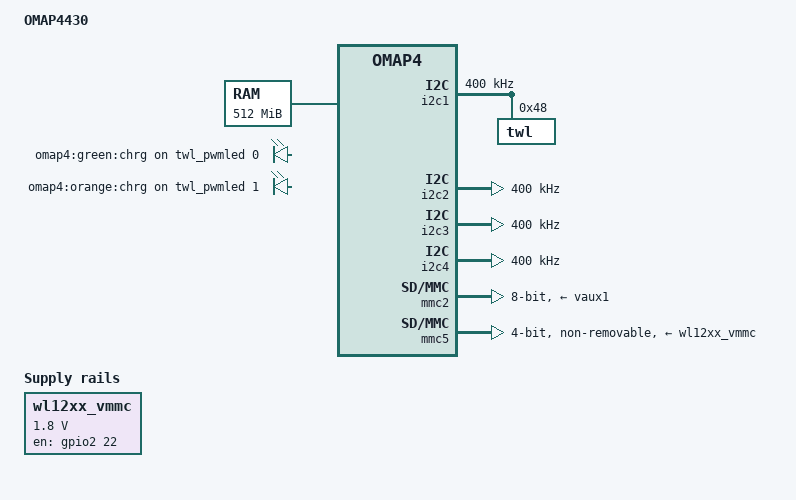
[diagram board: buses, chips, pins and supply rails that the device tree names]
/*
 * Copyright (C) 2011 Texas Instruments Incorporated - http://www.ti.com/
 *
 * This program is free software; you can redistribute it and/or modify
 * it under the terms of the GNU General Public License version 2 as
 * published by the Free Software Foundation.
 */
/dts-v1/;

#include "omap4.dtsi"

/ {
	cpus {
		cpu0: cpu@0 {
			/* OMAP443x variants OPP50-OPPNT */
			operating-points = <
				/* kHz    uV */
				300000  1025000
				600000  1200000
				800000  1313000
				1008000 1375000
			>;
			clock-latency = <300000>; /* From legacy driver */

			/* cooling options */
			cooling-min-level = <0>;
			cooling-max-level = <3>;
			#cooling-cells = <2>; /* min followed by max */
		};
	};

	thermal-zones {
		#include "omap4-cpu-thermal.dtsi"
	};

	ocp {
		bandgap: bandgap {
			reg = <0x4a002260 0x4
			       0x4a00232C 0x4>;
			compatible = "ti,omap4430-bandgap";

			#thermal-sensor-cells = <0>;
		};
	};
};

/include/ "omap443x-clocks.dtsi"

#include "elpida_ecb240abacn.dtsi"

/ {
	model = "OMAP4430";
	compatible = "ti,omap4-kc1", "ti,omap4430", "ti,omap4";

	memory {
		device_type = "memory";
		reg = <0x80000000 0x20000000>; /* 512 GB */
	};

	pwmleds {
		compatible = "pwm-leds";
		charging_green {
			label = "omap4:green:chrg";
			pwms = <&twl_pwmled 0 7812500>;
			max-brightness = <255>;
		};

		charging_orange {
			label = "omap4:orange:chrg";
			pwms = <&twl_pwmled 1 7812500>;
			max-brightness = <255>;
		};
	};

	/* regulator for wl12xx on sdio5 */
	wl12xx_vmmc: wl12xx_vmmc {
		pinctrl-names = "default";
		pinctrl-0 = <&wl12xx_gpio>;
		compatible = "regulator-fixed";
		regulator-name = "vwl1271";
		regulator-min-microvolt = <1800000>;
		regulator-max-microvolt = <1800000>;
		gpio = <&gpio2 22 0>;
		startup-delay-us = <70000>;
		enable-active-high;
	};
};

&omap4_pmx_core {
	pinctrl-names = "default";
	pinctrl-0 = <
			&mcbsp1_pins
			&mcbsp2_pins
			&mcbsp4_pins
			&dmtimer10_pins
			&hsusbb1_pins
			&mcpdm_pins
			&hsdet_pins
			&dmic_pins
			&dss_dpi_pins
			&mbid_pins
			&panelid_pins
			&touchid_pins
			&smb347_pins
	>;

	uart2_pins: pinmux_uart2_pins {
		pinctrl-single,pins = <
			0xd8 (PIN_INPUT_PULLUP | MUX_MODE0)	/* uart2_cts.uart2_cts */
			0xda (PIN_OUTPUT | MUX_MODE0)		/* uart2_rts.uart2_rts */
			0xdc (PIN_INPUT_PULLUP | MUX_MODE0)	/* uart2_rx.uart2_rx */
			0xde (PIN_OUTPUT | MUX_MODE0)		/* uart2_tx.uart2_tx */
		>;
	};

	uart3_pins: pinmux_uart3_pins {
		pinctrl-single,pins = <
			0x100 (PIN_INPUT_PULLUP | MUX_MODE0)	/* uart3_cts_rctx.uart3_cts_rctx */
			0x102 (PIN_OUTPUT | MUX_MODE0)		/* uart3_rts_sd.uart3_rts_sd */
			0x104 (PIN_INPUT | MUX_MODE0)		/* uart3_rx_irrx.uart3_rx_irrx */
			0x106 (PIN_OUTPUT | MUX_MODE0)		/* uart3_tx_irtx.uart3_tx_irtx */
		>;
	};

	mcbsp1_pins: pinmux_mcbsp1_pins {
		pinctrl-single,pins = <
			0xbe (PIN_INPUT | MUX_MODE0)		/* abe_mcbsp1_clkx.abe_mcbsp1_clkx */
			0xc0 (PIN_INPUT_PULLDOWN | MUX_MODE0)	/* abe_mcbsp1_dr.abe_mcbsp1_dr */
			0xc2 (PIN_OUTPUT_PULLDOWN | MUX_MODE0)	/* abe_mcbsp1_dx.abe_mcbsp1_dx */
			0xc4 (PIN_INPUT | MUX_MODE0)		/* abe_mcbsp1_fsx.abe_mcbsp1_fsx */
		>;
	};

	mcbsp2_pins: pinmux_mcbsp2_pins {
		pinctrl-single,pins = <
			0xb6 (PIN_INPUT | MUX_MODE0)		/* abe_mcbsp2_clkx.abe_mcbsp2_clkx */
			0xb8 (PIN_INPUT_PULLDOWN | MUX_MODE0)	/* abe_mcbsp2_dr.abe_mcbsp2_dr */
			0xba (PIN_OUTPUT_PULLDOWN | MUX_MODE0)	/* abe_mcbsp2_dx.abe_mcbsp2_dx */
			0xbc (PIN_INPUT | MUX_MODE0)		/* abe_mcbsp2_fsx.abe_mcbsp2_fsx */
		>;
	};

	mcspi1_pins: pinmux_mcspi1_pins {
		pinctrl-single,pins = <
			0xf2 (PIN_INPUT | MUX_MODE0)		/*  mcspi1_clk.mcspi1_clk */
			0xf4 (PIN_INPUT | MUX_MODE0)		/*  mcspi1_somi.mcspi1_somi */
			0xf6 (PIN_INPUT | MUX_MODE0)		/*  mcspi1_simo.mcspi1_simo */
			0xf8 (PIN_INPUT | MUX_MODE0)		/*  mcspi1_cs0.mcspi1_cs0 */
		>;
	};

	i2c1_pins: pinmux_i2c1_pins {
		pinctrl-single,pins = <
			0xe2 (PIN_INPUT_PULLUP | MUX_MODE0)	/* i2c1_scl */
			0xe4 (PIN_INPUT_PULLUP | MUX_MODE0)	/* i2c1_sda */
		>;
	};

	i2c2_pins: pinmux_i2c2_pins {
		pinctrl-single,pins = <
			0xe6 (PIN_INPUT_PULLUP | MUX_MODE0)	/* i2c2_scl */
			0xe8 (PIN_INPUT_PULLUP | MUX_MODE0)	/* i2c2_sda */
		>;
	};

	i2c3_pins: pinmux_i2c3_pins {
		pinctrl-single,pins = <
			0xea (PIN_INPUT_PULLUP | MUX_MODE0)	/* i2c3_scl */
			0xec (PIN_INPUT_PULLUP | MUX_MODE0)	/* i2c3_sda */
		>;
	};

	i2c4_pins: pinmux_i2c4_pins {
		pinctrl-single,pins = <
			0xee (PIN_INPUT_PULLUP | MUX_MODE0)	/* i2c4_scl */
			0xf0 (PIN_INPUT_PULLUP | MUX_MODE0)	/* i2c4_sda */
		>;
	};

	/* wl12xx GPIO output for WLAN_EN */
	wl12xx_gpio: pinmux_wl12xx_gpio {
		pinctrl-single,pins = <
			0x3c (PIN_OUTPUT | MUX_MODE3)		/* gpmc_nwp.gpio_54 */
		>;
	};

	/* wl12xx GPIO inputs and SDIO pins */
	wl12xx_pins: pinmux_wl12xx_pins {
		pinctrl-single,pins = <
			0x3a (PIN_INPUT | MUX_MODE3)		/* gpmc_ncs3.gpio_53 */
			0x108 (PIN_INPUT_PULLUP | MUX_MODE0)	/* sdmmc5_clk.sdmmc5_clk */
			0x10a (PIN_INPUT_PULLUP | MUX_MODE0)	/* sdmmc5_cmd.sdmmc5_cmd */
			0x10c (PIN_INPUT_PULLUP | MUX_MODE0)	/* sdmmc5_dat0.sdmmc5_dat0 */
			0x10e (PIN_INPUT_PULLUP | MUX_MODE0)	/* sdmmc5_dat1.sdmmc5_dat1 */
			0x110 (PIN_INPUT_PULLUP | MUX_MODE0)	/* sdmmc5_dat2.sdmmc5_dat2 */
			0x112 (PIN_INPUT_PULLUP | MUX_MODE0)	/* sdmmc5_dat3.sdmmc5_dat3 */
		>;
	};

	mcbsp4_pins: pinmux_mcbsp4_pins {
		pinctrl-single,pins = <
			0x88 (PIN_INPUT		 | MUX_MODE2)	/* usbb1_ulpitll_nxt.mcbsp4_fsx */
			0x8a (PIN_INPUT		 | MUX_MODE2)	/* usbb1_ulpitll_dat0.mcbsp4_clkx */
			0x8c (PIN_OUTPUT 	 | MUX_MODE2)	/* usbb1_ulpitll_dat1.mcbsp4_dx */
			0x8e (PIN_INPUT		 | MUX_MODE2)	/* usbb1_ulpitll_dat2.mcbsp4_dr */
		>;
	};

	dmtimer10_pins: pinmux_dmtimer10_pins {
		pinctrl-single,pins = <
			0x96 (PIN_OUTPUT	 | MUX_MODE1)	/* usbb1_ulpitll_dat6.dmtimer10_pwm_evt */
		>;
	};

	hsusbb1_pins: pinmux_hsusbb1_pins {
		pinctrl-single,pins = <
			0x80 (PIN_OUTPUT 	 | MUX_MODE3)	/* cam_globalreset.gpio_83 */
			0x82 (PIN_INPUT_PULLDOWN | MUX_MODE3)	/* usbb1_ulpitll_clk.gpio_84 */
			0x84 (PIN_OUTPUT 	 | MUX_MODE3)	/* usbb1_ulpitll_stp.gpio_85 */
			0x86 (PIN_INPUT_PULLDOWN | MUX_MODE3)	/* usbb1_ulpitll_dir.gpio_86 */
			0x90 (PIN_INPUT		 | MUX_MODE1)	/* usbb1_ulpitll_dat3.hsi1_caready */
			0x92 (PIN_INPUT_PULLDOWN | MUX_MODE3)	/* usbb1_ulpitll_dat4.gpio_92 */
			0x94 (PIN_INPUT_PULLDOWN | MUX_MODE3)	/* usbb1_ulpitll_dat5.gpio_93 */
			0x98 (PIN_INPUT_PULLDOWN | MUX_MODE4)	/* usbb1_ulpitll_dat7.usbb1_ulpiphy_dat7 */
		>;
	};

	mcpdm_pins: pinmux_mcpdm_pins {
		pinctrl-single,pins = <
			0xc6 (PIN_INPUT		 | MUX_MODE1)	/* abe_pdm_ul_data.abe_mcbsp3_dr */
			0xc8 (PIN_OUTPUT	 | MUX_MODE1)	/* abe_pdm_dl_data.abe_mcbsp3_dx */
			0xca (PIN_INPUT		 | MUX_MODE1)	/* abe_pdm_frame.abe_mcbsp3_clkx */
			0xcc (PIN_INPUT		 | MUX_MODE1)	/* abe_pdm_lb_clk.abe_mcbsp3_fsx */
			0xce (PIN_INPUT_PULLDOWN | MUX_MODE0)	/* abe_clks.abe_clks */
		>;
	};

	hsdet_pins: pinmux_hsdet_pins {
		pinctrl-single,pins = <
			0x32 (PIN_INPUT_PULLUP | MUX_MODE3)	/* gpmc_a25.gpio_49 */
		>;
	};

	dmic_pins: pinmux_dmic_pins {
		pinctrl-single,pins = <
			0xd0 (PIN_OUTPUT | MUX_MODE3)		/* abe_dmic_clk1.gpio_119 */
			0xd2 (PIN_OUTPUT | MUX_MODE3)		/* abe_dmic_din1.gpio_120 */
			0xd4 (PIN_OUTPUT | MUX_MODE3)		/* abe_dmic_din2.gpio_121 */
			0xd6 (PIN_INPUT | MUX_MODE0)		/* abe_dmic_din3.abe_dmic_din3 */
		>;
	};

	dss_dpi_pins: pinmux_dss_dpi_pins {
		pinctrl-single,pins = <
			0x122 (PIN_OUTPUT | MUX_MODE5)	/* dispc2_data23 */
			0x124 (PIN_OUTPUT | MUX_MODE5) 	/* dispc2_data22 */
			0x126 (PIN_OUTPUT | MUX_MODE5)	/* dispc2_data21 */
			0x128 (PIN_OUTPUT | MUX_MODE5)	/* dispc2_data20 */
			0x12a (PIN_OUTPUT | MUX_MODE5)	/* dispc2_data19 */
			0x12c (PIN_OUTPUT | MUX_MODE5)	/* dispc2_data18 */
			0x12e (PIN_OUTPUT | MUX_MODE5)	/* dispc2_data15 */
			0x130 (PIN_OUTPUT | MUX_MODE5)	/* dispc2_data14 */
			0x132 (PIN_OUTPUT | MUX_MODE5)	/* dispc2_data13 */
			0x134 (PIN_OUTPUT | MUX_MODE5)	/* dispc2_data12 */
			0x136 (PIN_OUTPUT | MUX_MODE5)	/* dispc2_data11 */

			0x174 (PIN_OUTPUT | MUX_MODE5)	/* dispc2_data10 */
			0x176 (PIN_OUTPUT | MUX_MODE5)	/* dispc2_data9 */
			0x178 (PIN_OUTPUT | MUX_MODE5)	/* dispc2_data16 */
			0x17a (PIN_OUTPUT | MUX_MODE5)	/* dispc2_data17 */
			0x17c (PIN_OUTPUT | MUX_MODE5)	/* dispc2_hsync */
			0x17e (PIN_OUTPUT | MUX_MODE5)	/* dispc2_pclk */
			0x180 (PIN_OUTPUT | MUX_MODE5)	/* dispc2_vsync */
			0x182 (PIN_OUTPUT | MUX_MODE5)	/* dispc2_de */
			0x184 (PIN_OUTPUT | MUX_MODE5)	/* dispc2_data8 */
			0x186 (PIN_OUTPUT | MUX_MODE5)	/* dispc2_data7 */
			0x188 (PIN_OUTPUT | MUX_MODE5)	/* dispc2_data6 */
			0x18a (PIN_OUTPUT | MUX_MODE5)	/* dispc2_data5 */
			0x18c (PIN_OUTPUT | MUX_MODE5)	/* dispc2_data4 */
			0x18e (PIN_OUTPUT | MUX_MODE5)	/* dispc2_data3 */

			0x190 (PIN_OUTPUT | MUX_MODE5)	/* dispc2_data2 */
			0x192 (PIN_OUTPUT | MUX_MODE5)	/* dispc2_data1 */
			0x194 (PIN_OUTPUT | MUX_MODE5)	/* dispc2_data0 */
		>;
	};

	mbid_pins: pinmux_mbid_pins {
		pinctrl-single,pins = <
			0x140 (PIN_INPUT | MUX_MODE3)	/* kpd_col5.gpio_173 */
			0x142 (PIN_INPUT | MUX_MODE3)	/* kpd_col0.gpio_174 */
			0x14c (PIN_INPUT | MUX_MODE3)	/* kpd_row5.gpio_177 */
			0x14e (PIN_INPUT | MUX_MODE3)	/* kpd_row0.gpio_178 */
		>;
	};

	panelid_pins: pinmux_panelid_pins {
		pinctrl-single,pins = <
			0x148 (PIN_INPUT | MUX_MODE3)	/* kpd_row3.gpio_175 */
			0x150 (PIN_INPUT | MUX_MODE3)	/* kpd_row4.gpio_176 */
		>;
	};

	touchid_pins: pinmux_touchid_pins {
		pinctrl-single,pins = <
			0x34 (PIN_INPUT | MUX_MODE3)	/* gpmc_ncs0.gpio_50 */
			0x36 (PIN_INPUT | MUX_MODE3)	/* gpmc_ncs1.gpio_51 */
		>;
	};

	smb347_pins: pinmux_smb347_pins {
		pinctrl-single,pins = <
			0x50 (PIN_OUTPUT | MUX_MODE3)	/* gpmc_ncs4.gpio_101 */
			0x11c (PIN_OUTPUT | PIN_OFF_OUTPUT_HIGH | MUX_MODE3)	/* uart4_rx.gpio_155 */
		>;
	};

};

&i2c1 {
	pinctrl-names = "default";
	pinctrl-0 = <&i2c1_pins>;

	clock-frequency = <400000>;

	twl: twl@48 {
		reg = <0x48>;
		/* SPI = 0, IRQ# = 7, 4 = active high level-sensitive */
		interrupts = <GIC_SPI 7 IRQ_TYPE_LEVEL_HIGH>; /* IRQ_SYS_1N cascaded to gic */
		interrupt-parent = <&gic>;
	};
};

#include "twl6030.dtsi"

&twl {
	/*
	 * On most OMAP4 platforms, the twl6030 IRQ line is connected
	 * to the SYS_NIRQ1 line on OMAP and the twl6030 MSECURE line is
	 * connected to the fref_clk0_out.sys_drm_msecure line.
	 * Therefore, configure the defaults for the SYS_NIRQ1 and
	 * fref_clk0_out.sys_drm_msecure pins here.
	 */
	pinctrl-names = "default";
	pinctrl-0 = <
		&twl6030_pins
		&twl6030_wkup_pins
	>;
};

&omap4_pmx_wkup {
	twl6030_wkup_pins: pinmux_twl6030_wkup_pins {
		pinctrl-single,pins = <
			0x14 (PIN_OUTPUT | MUX_MODE3)		/* fref_clk0_out.gpio_wk6 */
		>;
	};
};

&omap4_pmx_core {
	twl6030_pins: pinmux_twl6030_pins {
		pinctrl-single,pins = <
			0x15e (WAKEUP_EN | PIN_INPUT_PULLUP | MUX_MODE0)	/* sys_nirq1.sys_nirq1 */
		>;
	};
};

&i2c2 {
	pinctrl-names = "default";
	pinctrl-0 = <&i2c2_pins>;

	clock-frequency = <400000>;
};

&i2c3 {
	pinctrl-names = "default";
	pinctrl-0 = <&i2c3_pins>;

	clock-frequency = <400000>;
};

&i2c4 {
	pinctrl-names = "default";
	pinctrl-0 = <&i2c4_pins>;

	clock-frequency = <400000>;
};

&mcspi1 {
	pinctrl-names = "default";
	pinctrl-0 = <&mcspi1_pins>;
};

&gpio2 {
	ti,no-reset-on-init;
};

&timer10 {
	ti,no-reset-on-init;
};

&mmc1 {
	status = "disabled";
};

&mmc2 {
	vmmc-supply = <&vaux1>;
	bus-width = <8>;
	ti,non-removable;
};

&mmc3 {
	status = "disabled";
};

&mmc4 {
	status = "disabled";
};

&mmc5 {
	pinctrl-names = "default";
	pinctrl-0 = <&wl12xx_pins>;
	vmmc-supply = <&wl12xx_vmmc>;
	non-removable;
	bus-width = <4>;
	cap-power-off-card;
};

&emif1 {
	cs1-used;
	device-handle = <&elpida_ECB240ABACN>;
};

&emif2 {
	cs1-used;
	device-handle = <&elpida_ECB240ABACN>;
};

&uart2 {
	pinctrl-names = "default";
	pinctrl-0 = <&uart2_pins>;
};

&uart3 {
	pinctrl-names = "default";
	pinctrl-0 = <&uart3_pins>;
};

&mcbsp3 {
	status = "disabled";
};

&twl_usb_comparator {
	usb-supply = <&vusb>;
};

&usb_otg_hs {
	interface-type = <1>;
	mode = <3>;
	power = <50>;
};
